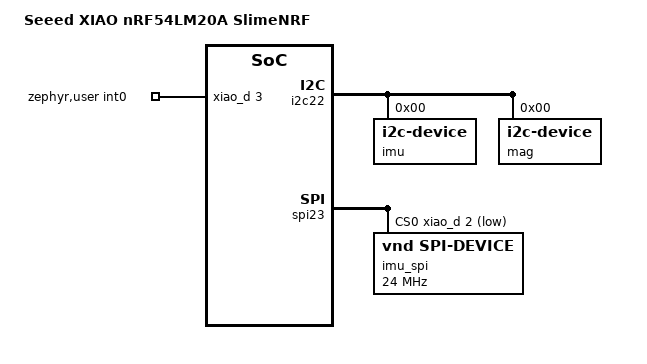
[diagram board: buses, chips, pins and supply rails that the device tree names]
/*
 * Copyright (c) 2025 Seeed Technology Co., Ltd.
 * SPDX-License-Identifier: Apache-2.0
 */

/dts-v1/;

#include "nrf54lm20a_cpuapp_common.dtsi"
#include "seeed_xiao_connector.dtsi"

/ {
	model = "Seeed XIAO nRF54LM20A SlimeNRF";
	compatible = "seeed,xiao-nrf54lm20a-cpuapp";

	zephyr,user {
		/* External tracker IMU interrupt on XIAO D3. */
		int0-gpios = <&xiao_d 3 GPIO_ACTIVE_HIGH>;
	};
};

&i2c22 {
	imu: imu@0 {
		compatible = "i2c-device";
		reg = <0>;
	};

	mag: mag@0 {
		compatible = "i2c-device";
		reg = <0>;
	};
};

&spi23 {
	compatible = "nordic,nrf-spim";
	status = "okay";
	max-frequency = <DT_FREQ_M(24)>;
	/* XIAO D2 is the default external tracker IMU chip select. */
	cs-gpios = <&xiao_d 2 GPIO_ACTIVE_LOW>;

	imu_spi: imu@0 {
		compatible = "vnd,spi-device";
		reg = <0>;
		spi-max-frequency = <DT_FREQ_M(24)>;
	};
};

